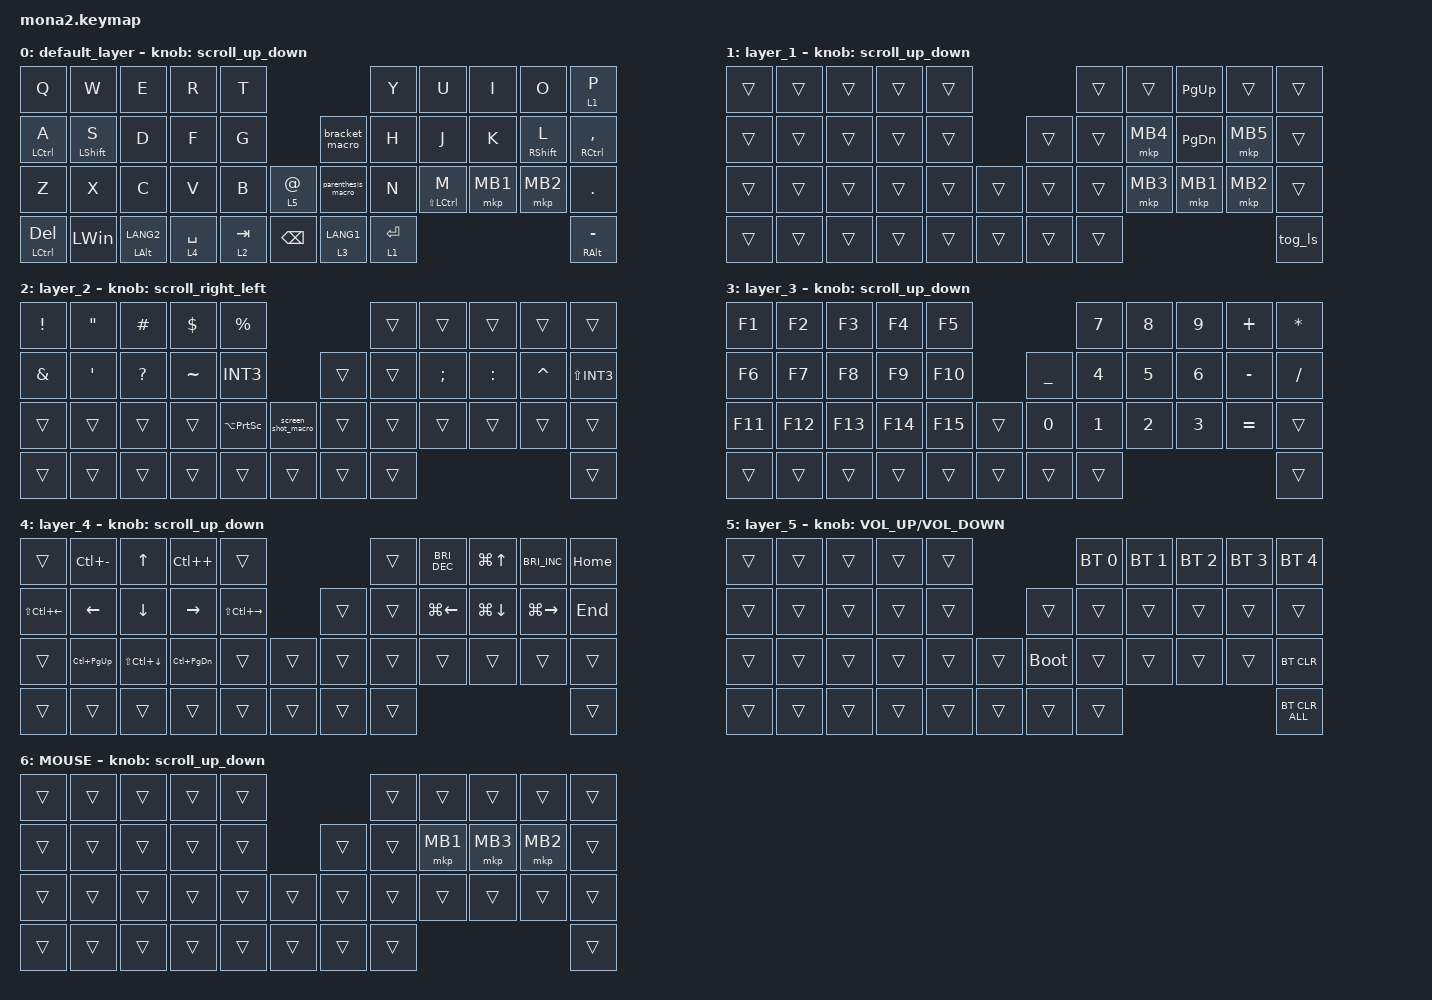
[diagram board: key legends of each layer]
#include <input/processors.dtsi>
#include <dt-bindings/zmk/input_transform.h>
#include <zephyr/dt-bindings/input/input-event-codes.h>
#include <layout_shift.dtsi>
#include <layout_shift_kp_override.dtsi>
#include <behaviors.dtsi>
#include <dt-bindings/zmk/bt.h>
#include <dt-bindings/zmk/keys.h>
#include <dt-bindings/zmk/pointing.h>

#define ZMK_POINTING_DEFAULT_SCRL_VAL 100
#define MOUSE 6

&mt {
    flavor = "balanced";
    quick-tap-ms = <200>;
    tapping-term-ms = <400>;
};

&lt {
    flavor = "balanced";
    quick-tap-ms = <200>;
    tapping-term-ms = <400>;
};

/ {
    combos {
        compatible = "zmk,combos";

        combo_escape {
            timeout-ms = <50>;
            key-positions = <0 1>;
            bindings = <&kp ESC>;
            layers = <0>;
        };

        combo_paste_value {
            timeout-ms = <50>;
            key-positions = <1 2>;
            bindings = <&kp LS(LC(V))>;
            layers = <0>;
        };

        combo_cut {
            timeout-ms = <50>;
            key-positions = <2 3>;
            bindings = <&kp LC(X)>;
            layers = <0>;
        };

        combo_select_all {
            timeout-ms = <50>;
            key-positions = <10 11>;
            bindings = <&kp LC(A)>;
            layers = <0>;
        };

        combo_paste {
            timeout-ms = <50>;
            key-positions = <11 12>;
            bindings = <&kp LC(V)>;
            layers = <0>;
        };

        combo_copy {
            timeout-ms = <50>;
            key-positions = <12 13>;
            bindings = <&kp LC(C)>;
            layers = <0>;
        };

        combo_copy_right {
            timeout-ms = <50>;
            key-positions = <13 14>;
            bindings = <&kp LC(R)>;
            layers = <0>;
        };

        combo_copy_down {
            timeout-ms = <50>;
            key-positions = <23 24>;
            bindings = <&kp LC(D)>;
            layers = <0>;
        };

        combo_home {
            timeout-ms = <50>;
            key-positions = <8 9>;
            bindings = <&kp LC(HOME)>;
            layers = <0>;
        };

        combo_replace {
            timeout-ms = <50>;
            key-positions = <16 17>;
            bindings = <&kp LC(H)>;
            layers = <0>;
        };

        combo_list {
            timeout-ms = <50>;
            key-positions = <18 19>;
            bindings = <&kp LS(LC(L))>;
            layers = <0>;
        };

        combo_date {
            timeout-ms = <50>;
            key-positions = <19 20>;
            bindings = <&kp LC(SEMICOLON)>;
            layers = <0>;
        };

        combo_center_dot {
            timeout-ms = <50>;
            key-positions = <31 32>;
            bindings = <&kp SLASH>;
            layers = <0>;
        };
    };

    macros {
        to_layer_0: to_layer_0 {
            compatible = "zmk,behavior-macro-one-param";
            #binding-cells = <1>;
            bindings = <&to 0 &macro_param_1to1 &kp MACRO_PLACEHOLDER>;
            label = "TO_LAYER_0";
        };

        mkp_exit_AML: mkp_exit_AML {
            compatible = "zmk,behavior-macro-one-param";
            #binding-cells = <1>;
            bindings =
                <&macro_press>,
                <&macro_param_1to1 &kp MACRO_PLACEHOLDER>,
                <&macro_pause_for_release>,
                <&macro_release>,
                <&macro_param_1to1 &kp MACRO_PLACEHOLDER>,
                <&macro_tap>,
                <&sl 4>;

            label = "MKP_EXIT_AML";
        };

        screen_shot_macro: screen_shot_macro {
            compatible = "zmk,behavior-macro";
            #binding-cells = <0>;
            bindings =
                <&macro_press>,
                <&kp LEFT_WIN &kp LEFT_SHIFT>,
                <&macro_tap>,
                <&kp S>;
        };

        bt0: bt0 {
            compatible = "zmk,behavior-macro";
            #binding-cells = <0>;
            bindings = <&bt BT_SEL 0 &to 1>;
            label = "BT0";
        };

        parenthesis_macro: parenthesis_macro {
            compatible = "zmk,behavior-macro";
            #binding-cells = <0>;
            bindings = <&kp LEFT_PARENTHESIS &kp RIGHT_PARENTHESIS &kp LEFT>;
            label = "PARENTHESIS_MACRO";
        };

        bracket_macro: bracket_macro {
            compatible = "zmk,behavior-macro";
            #binding-cells = <0>;
            bindings = <&kp LEFT_BRACKET &kp RIGHT_BRACKET &kp LEFT>;
            label = "BRACKET_MACRO";
        };
    };

    behaviors {
        lt_to_layer_0: lt_to_layer_0 {
            compatible = "zmk,behavior-hold-tap";
            label = "LAYER_TAP_TO_0";
            bindings = <&mo>, <&screen_shot_macro>;

            #binding-cells = <2>;
            tapping-term-ms = <200>;
        };

        scroll_up_down: behavior_sensor_rotate_mouse_wheel_up_down {
            compatible = "zmk,behavior-sensor-rotate";
            #sensor-binding-cells = <0>;
            bindings = <&msc SCRL_UP>, <&msc SCRL_DOWN>;

            tap-ms = <20>;
        };

        scroll_right_left: mouse_wheel_right_left {
            compatible = "zmk,behavior-sensor-rotate";
            #sensor-binding-cells = <0>;
            bindings = <&msc SCRL_LEFT>, <&msc SCRL_RIGHT>;

            tap-ms = <20>;
        };

        kp: key_press {
            compatible = "zmk,behavior-layout-shift-key-press";
            #binding-cells = <1>;
            label = "LAYOUT_SHIFT_KEY_PRESS";
        };

        tog_ls: toggle_layout_shift {
            compatible = "zmk,behavior-layout-shift-toggle";
            #binding-cells = <0>;
            toggle-mode = "flip";
            layout-maps = <&layout_shift_map_us_to_jis>;
            label = "LAYOUT_SHIFT_TOGGLE";
        };

        tog_ls_on: toggle_layout_shift_on {
            compatible = "zmk,behavior-layout-shift-toggle";
            #binding-cells = <0>;
            toggle-mode = "on";
            layout-maps = <&layout_shift_map_us_to_jis>;
            label = "LAYOUT_SHIFT_TOGGLE_ON";
        };

        tog_ls_off: toggle_layout_shift_off {
            compatible = "zmk,behavior-layout-shift-toggle";
            #binding-cells = <0>;
            toggle-mode = "off";
            layout-maps = <&layout_shift_map_us_to_jis>;
            label = "LAYOUT_SHIFT_TOGGLE_OFF";
        };
    };

    keymap {
        compatible = "zmk,keymap";

        default_layer {
            bindings = <
&kp Q                    &kp W             &kp E               &kp R        &kp T                                           &kp Y        &kp U                   &kp I     &kp O              &lt 1 P
&mt LEFT_CONTROL A       &mt LEFT_SHIFT S  &kp D               &kp F        &kp G                       &bracket_macro      &kp H        &kp J                   &kp K     &mt RIGHT_SHIFT L  &mt RIGHT_CONTROL COMMA
&kp Z                    &kp X             &kp C               &kp V        &kp B      &lt 5 AT_SIGN    &parenthesis_macro  &kp N        &mt LS(LEFT_CONTROL) M  &mkp MB1  &mkp MB2           &kp PERIOD
&mt LEFT_CONTROL DELETE  &kp LEFT_WIN      &mt LEFT_ALT LANG2  &lt 4 SPACE  &lt 2 TAB  &kp BACKSPACE    &lt 3 LANG1         &lt 1 ENTER                                                       &mt RIGHT_ALT MINUS
            >;

            sensor-bindings = <&scroll_up_down>;
        };

        layer_1 {
            bindings = <
&trans  &trans  &trans  &trans  &trans                    &trans  &trans    &kp PAGE_UP  &trans    &trans
&trans  &trans  &trans  &trans  &trans            &trans  &trans  &mkp MB4  &kp PG_DN    &mkp MB5  &trans
&trans  &trans  &trans  &trans  &trans  &trans    &trans  &trans  &mkp MB3  &mkp MB1     &mkp MB2  &trans
&trans  &trans  &trans  &trans  &trans  &trans    &trans  &trans                                   &tog_ls
            >;

            sensor-bindings = <&scroll_up_down>;
        };

        layer_2 {
            bindings = <
&kp EXCLAMATION  &kp DOUBLE_QUOTES  &kp HASH      &kp DOLLAR  &kp PERCENT                                        &trans  &trans         &trans     &trans     &trans
&kp AMPERSAND    &kp SINGLE_QUOTE   &kp QUESTION  &kp TILDE   &kp INT3                                   &trans  &trans  &kp SEMICOLON  &kp COLON  &kp CARET  &kp LS(INT3)
&trans           &trans             &trans        &trans      &kp LA(PRINTSCREEN)  &screen_shot_macro    &trans  &trans  &trans         &trans     &trans     &trans
&trans           &trans             &trans        &trans      &trans               &trans                &trans  &trans                                       &trans
            >;

            sensor-bindings = <&scroll_right_left>;
        };

        layer_3 {
            bindings = <
&kp F1   &kp F2   &kp F3   &kp F4   &kp F5                             &kp NUMBER_7  &kp NUMBER_8  &kp NUMBER_9  &kp PLUS   &kp ASTERISK
&kp F6   &kp F7   &kp F8   &kp F9   &kp F10            &kp UNDERSCORE  &kp NUMBER_4  &kp NUMBER_5  &kp NUMBER_6  &kp MINUS  &kp SLASH
&kp F11  &kp F12  &kp F13  &kp F14  &kp F15  &trans    &kp NUMBER_0    &kp NUMBER_1  &kp NUMBER_2  &kp NUMBER_3  &kp EQUAL  &trans
&trans   &trans   &trans   &trans   &trans   &trans    &trans          &trans                                               &trans
            >;

            sensor-bindings = <&scroll_up_down>;
        };

        layer_4 {
            bindings = <
&trans            &kp LC(MINUS)    &kp UP_ARROW            &kp LC(PLUS)       &trans                               &trans  &kp C_BRIGHTNESS_DEC  &kp LG(UP_ARROW)    &kp C_BRIGHTNESS_INC  &kp HOME
&kp LS(LC(LEFT))  &kp LEFT_ARROW   &kp DOWN_ARROW          &kp RIGHT_ARROW    &kp LS(LC(RIGHT))            &trans  &trans  &kp LG(LEFT_ARROW)    &kp LG(DOWN_ARROW)  &kp LG(RIGHT_ARROW)   &kp END
&trans            &kp LC(PAGE_UP)  &kp LS(LC(DOWN_ARROW))  &kp LC(PAGE_DOWN)  &trans             &trans    &trans  &trans  &trans                &trans              &trans                &trans
&trans            &trans           &trans                  &trans             &trans             &trans    &trans  &trans                                                                  &trans
            >;

            sensor-bindings = <&scroll_up_down>;
        };

        layer_5 {
            bindings = <
&trans  &trans  &trans  &trans  &trans                         &bt BT_SEL 0  &bt BT_SEL 1  &bt BT_SEL 2  &bt BT_SEL 3  &bt BT_SEL 4
&trans  &trans  &trans  &trans  &trans            &trans       &trans        &trans        &trans        &trans        &trans
&trans  &trans  &trans  &trans  &trans  &trans    &bootloader  &trans        &trans        &trans        &trans        &bt BT_CLR
&trans  &trans  &trans  &trans  &trans  &trans    &trans       &trans                                                  &bt BT_CLR_ALL
            >;

            sensor-bindings = <&inc_dec_kp C_VOLUME_UP C_VOLUME_DOWN>;
        };

        MOUSE {
            bindings = <
&trans  &trans  &trans  &trans  &trans                    &trans  &trans    &trans    &trans    &trans
&trans  &trans  &trans  &trans  &trans            &trans  &trans  &mkp MB1  &mkp MB3  &mkp MB2  &trans
&trans  &trans  &trans  &trans  &trans  &trans    &trans  &trans  &trans    &trans    &trans    &trans
&trans  &trans  &trans  &trans  &trans  &trans    &trans  &trans                                &trans
            >;

            sensor-bindings = <&scroll_up_down>;
        };
    };
};
